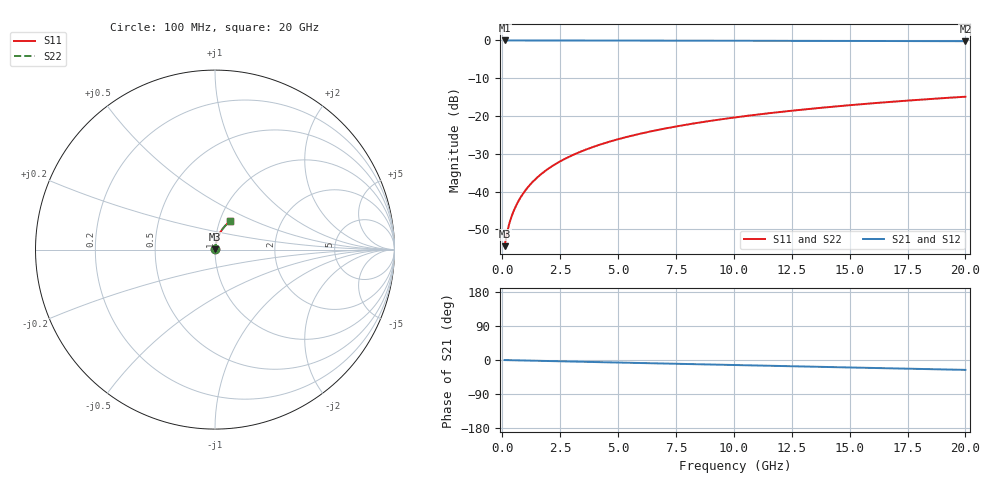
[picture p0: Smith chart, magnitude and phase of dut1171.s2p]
! Touchstone file exported from HFSS 2026.1.0
!  File:  C:/ffzhzh/LocalFiles/Ansys_Project_Files/temp_train_BSMRDL_1171_1783175968_43440.aedt
!  Generated:  10:40:41 PM Jul  4, 2026
!  Design:  BSMRDL
!  Project:  temp_train_BSMRDL_1171_1783175968_43440
! Variables:
!  h_bsmrdl = 3.85um
!  h_ox = 20um
!  h_rdl = 5um
!  h_sub = 80um
!  h_tmrdl = 5um
!  h_tsv = 80um
!  h_via = 3um
!  l_bsmrdl = 394.99um
!  l_sub = 794.99um
!  l_tmrdl = 200um
!  m_sub = 200um
!  pitch = 47.09um
!  r_tsv = 6um
!  s_tmrdl = 10um
!  w_bsmrdl = 29.98um
!  w_sub = 500um
!  w_tmrdl = 12um
!  x_tsv_center1 = 206um
!  x_tsv_center2 = 630.97um
!  x_tsv_center3 = 842.97um
!  x_tsv_center4 = 1267.94um
!  x_tsv_center5 = 1479.94um
!  x_tsv_center6 = 1904.91um
# GHz S MA R 50.000000
! Terminal data exported
! Port[1] = BSM_RDL1_1_T1
! Port[2] = BSM_RDL1_1_T2
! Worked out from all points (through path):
!   200 points, 100 MHz to 20 GHz, reference 50 ohm
!   highest |S21| = -0.01 dB at 100 MHz (marker M1); lowest = -0.2 dB at 20 GHz (marker M2)
!   group delay of S21, straight-line fit = 3.62 ps
!   lowest |S11| = -54.4 dB at 100 MHz (marker M3), VSWR 1.00, Z = 50.1 + j0.12 ohm
!   |S11| at or under -10 dB: start of sweep to end of sweep
!   |S22| runs from -54.4 to -14.9 dB; largest |S21 - S12| = 2.5e-15
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0.1  0.001901 39.0  0.9985 -0.1  0.9985 -0.1  0.001901 39.0
! Gamma 0 0 0 0
! Port Impedance 50 0 50 0
0.2  0.002814 54.8  0.9984 -0.3  0.9984 -0.3  0.002814 54.8
0.3  0.003759 62.0  0.9983 -0.4  0.9983 -0.4  0.003759 62.0
0.4  0.004695 66.5  0.9982 -0.6  0.9982 -0.6  0.004695 66.5
0.5  0.005631 69.6  0.9981 -0.7  0.9981 -0.7  0.005631 69.6
0.6  0.006573 71.9  0.998 -0.8  0.998 -0.8  0.006573 71.9
0.8  0.008481 75.2  0.998 -1.1  0.998 -1.1  0.008482 75.1
1.1  0.01139 77.9  0.9979 -1.5  0.9979 -1.5  0.01139 77.9
1.3  0.01335 79.0  0.9978 -1.8  0.9978 -1.8  0.01335 79.0
1.6  0.01629 80.0  0.9977 -2.2  0.9977 -2.2  0.01629 80.0
2.1  0.02122 80.8  0.9974 -2.8  0.9974 -2.8  0.02122 80.8
2.7  0.02711 81.0  0.9971 -3.6  0.9971 -3.6  0.02711 81.0
3.5  0.03492 80.6  0.9966 -4.7  0.9966 -4.7  0.03492 80.6
4.2  0.04168 80.1  0.996 -5.7  0.996 -5.7  0.04168 80.0
5  0.04933 79.3  0.9953 -6.7  0.9953 -6.7  0.04933 79.3
5.9  0.05784 78.3  0.9945 -7.9  0.9945 -7.9  0.05784 78.3
6.8  0.06624 77.3  0.9936 -9.1  0.9936 -9.1  0.06624 77.3
8.3  0.08005 75.6  0.992 -11.1  0.992 -11.1  0.08005 75.5
10.1  0.09632 73.4  0.99 -13.4  0.99 -13.4  0.09632 73.4
13.4  0.1254 69.5  0.9859 -17.7  0.9859 -17.7  0.1254 69.5
16.7  0.1533 65.6  0.9813 -21.9  0.9813 -21.9  0.1533 65.5
20  0.1801 61.6  0.9762 -26.1  0.9762 -26.1  0.1801 61.5
